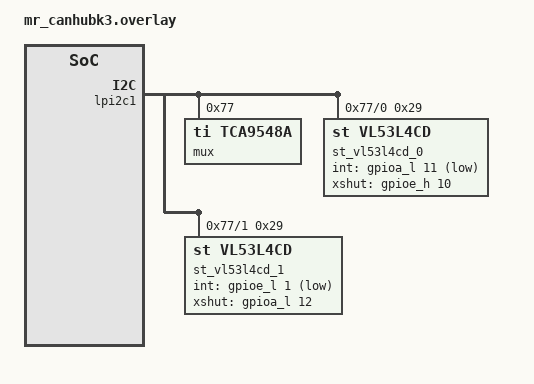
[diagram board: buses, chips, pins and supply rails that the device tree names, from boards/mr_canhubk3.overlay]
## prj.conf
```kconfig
CONFIG_STDOUT_CONSOLE=y

CONFIG_I2C=y
CONFIG_I2C_TCA954X=y
CONFIG_I2C_TCA954X_ROOT_INIT_PRIO=61
CONFIG_I2C_TCA954X_CHANNEL_INIT_PRIO=62

CONFIG_GPIO=y
CONFIG_SENSOR=y

CONFIG_VL53L4CD_PROXIMITY_THRESHOLD=150

# Options for enabling XSHUT, INTERRUPT.
CONFIG_VL53L4CD_XSHUT=n
CONFIG_VL53L4CD_INTERRUPT_MODE=n
CONFIG_VL53L4CD_RECONFIGURE_ADDRESS=n

# Options for debugging the application.
# CONFIG_DEBUG=y
# CONFIG_LOG=y
# CONFIG_SENSOR_LOG_LEVEL_DBG=y
# CONFIG_CBPRINTF_FP_SUPPORT=y
```

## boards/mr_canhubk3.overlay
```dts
/*
 * Copyright 2024 NXP
 *
 * SPDX-License-Identifier: Apache-2.0
 */

&eirq0_default {
	group1 {
		pinmux = <PTD15_EIRQ31>, <PTA18_EIRQ0>, <PTA25_EIRQ5>,
			 <PTD5_EIRQ13>, <PTA11_EIRQ19>, <PTE1_EIRQ1>;
		input-enable;
	};
};

&gpioa_l {
	status = "okay";
};

&gpioe_l {
	status = "okay";
};

&gpioe_h {
	status = "okay";
};

&lpi2c1 {
	status = "okay";

	mux: tca9548a@77 { /* Address depends on the hardware configuration. */
		compatible = "ti,tca9548a";
		reg = <0x77>;
		status = "okay";
		#address-cells = <1>;
		#size-cells = <0>;

		// reset-gpios = <&gpio5 3 GPIO_ACTIVE_LOW>;

		mux_i2c@0 {
			compatible = "ti,tca9548a-channel";
			reg = <0>;
			#address-cells = <1>;
			#size-cells = <0>;

			st_vl53l4cd_0: st_vl53l4cd_0@29 {
				compatible = "st,vl53l4cd";
				reg = <0x29>;
				status = "okay";

				int-gpios = <&gpioa_l 11 GPIO_ACTIVE_LOW>; /* EXT_GPIO1 */
				xshut-gpios = <&gpioe_h 10 GPIO_ACTIVE_HIGH>; /* EXT_GPIO3 */
			};
		};

		mux_i2c@1 {
			compatible = "ti,tca9548a-channel";
			reg = <1>;
			#address-cells = <1>;
			#size-cells = <0>;

			st_vl53l4cd_1: st_vl53l4cd_1@29 {
				compatible = "st,vl53l4cd";
				reg = <0x29>;
				status = "okay";

				int-gpios = <&gpioe_l 1 GPIO_ACTIVE_LOW>; /* EXT_GPIO2 */
				xshut-gpios = <&gpioa_l 12 GPIO_ACTIVE_HIGH>; /* EXT_GPIO4 */
			};
		};
	};
};
```

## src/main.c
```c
/*
 * Copyright 2024 NXP
 *
 * SPDX-License-Identifier: Apache-2.0
 */

#include <zephyr/kernel.h>
#include <zephyr/device.h>
#include <zephyr/drivers/sensor.h>
#include <stdio.h>
#include <zephyr/sys/printk.h>

#define VL53L4CD_SAMPLE_MEASUREMENT_DELAY_MS		1000

static int vl53l4cd_sample_data_and_display_data(const struct device *const sensor)
{
	int ret;
	struct sensor_value value;

	/* If interrupt mode is used, then we don't need to call sensor_sample_fetch. */
#ifndef CONFIG_VL53L4CD_INTERRUPT_MODE
	ret = sensor_sample_fetch(sensor);
	if (ret) {
		printk("[%s] sensor_sample_fetch failed. Returned %d.\n", sensor->name, ret);
		return ret;
	}
#endif

	ret = sensor_channel_get(sensor, SENSOR_CHAN_PROX, &value);
	if (ret) {
		printk("[%s] sensor_channel_get failed. Returned %d.\n", sensor->name, ret);
		return ret;
	}
	printk("[%s] proximity = %d\n", sensor->name, value.val1);

	ret = sensor_channel_get(sensor, SENSOR_CHAN_DISTANCE, &value);
	if (ret) {
		printk("[%s] sensor_channel_get failed. Returned %d.\n", sensor->name, ret);
		return ret;
	}
	printf("[%s] distance = %.3f m\n", sensor->name, sensor_value_to_double(&value));

	k_sleep(K_MSEC(VL53L4CD_SAMPLE_MEASUREMENT_DELAY_MS));

	return 0;
}

int main(void)
{
	int ret;
	const struct device *const sensor_0 = DEVICE_DT_GET(DT_NODELABEL(st_vl53l4cd_0));
	const struct device *const sensor_1 = DEVICE_DT_GET(DT_NODELABEL(st_vl53l4cd_0));

	if (!device_is_ready(sensor_0) || !device_is_ready(sensor_1)) {
		printk("[%s, %s] sensor devices are not ready.\n", sensor_0->name, sensor_1->name);
		return -ENODEV;
	}

	/* If CONFIG_VL53L4CD_RECONFIGURE_ADDRESS=y, sensors are started at the first fetch. */
#ifdef CONFIG_VL53L4CD_RECONFIGURE_ADDRESS
	ret = sensor_sample_fetch(sensor_0) || sensor_sample_fetch(sensor_1);
	if (ret) {
		printk("[%s, %s] address reconfiguration failed. Returned %d.\n", sensor_0->name,
		       sensor_1->name, ret);
		return ret;
	}
#endif

	while (1) {
		ret = vl53l4cd_sample_data_and_display_data(sensor_0);
		if (ret) {
			return ret;
		}

		ret = vl53l4cd_sample_data_and_display_data(sensor_1);
		if (ret) {
			return ret;
		}
	}

	return 0;
}
```
